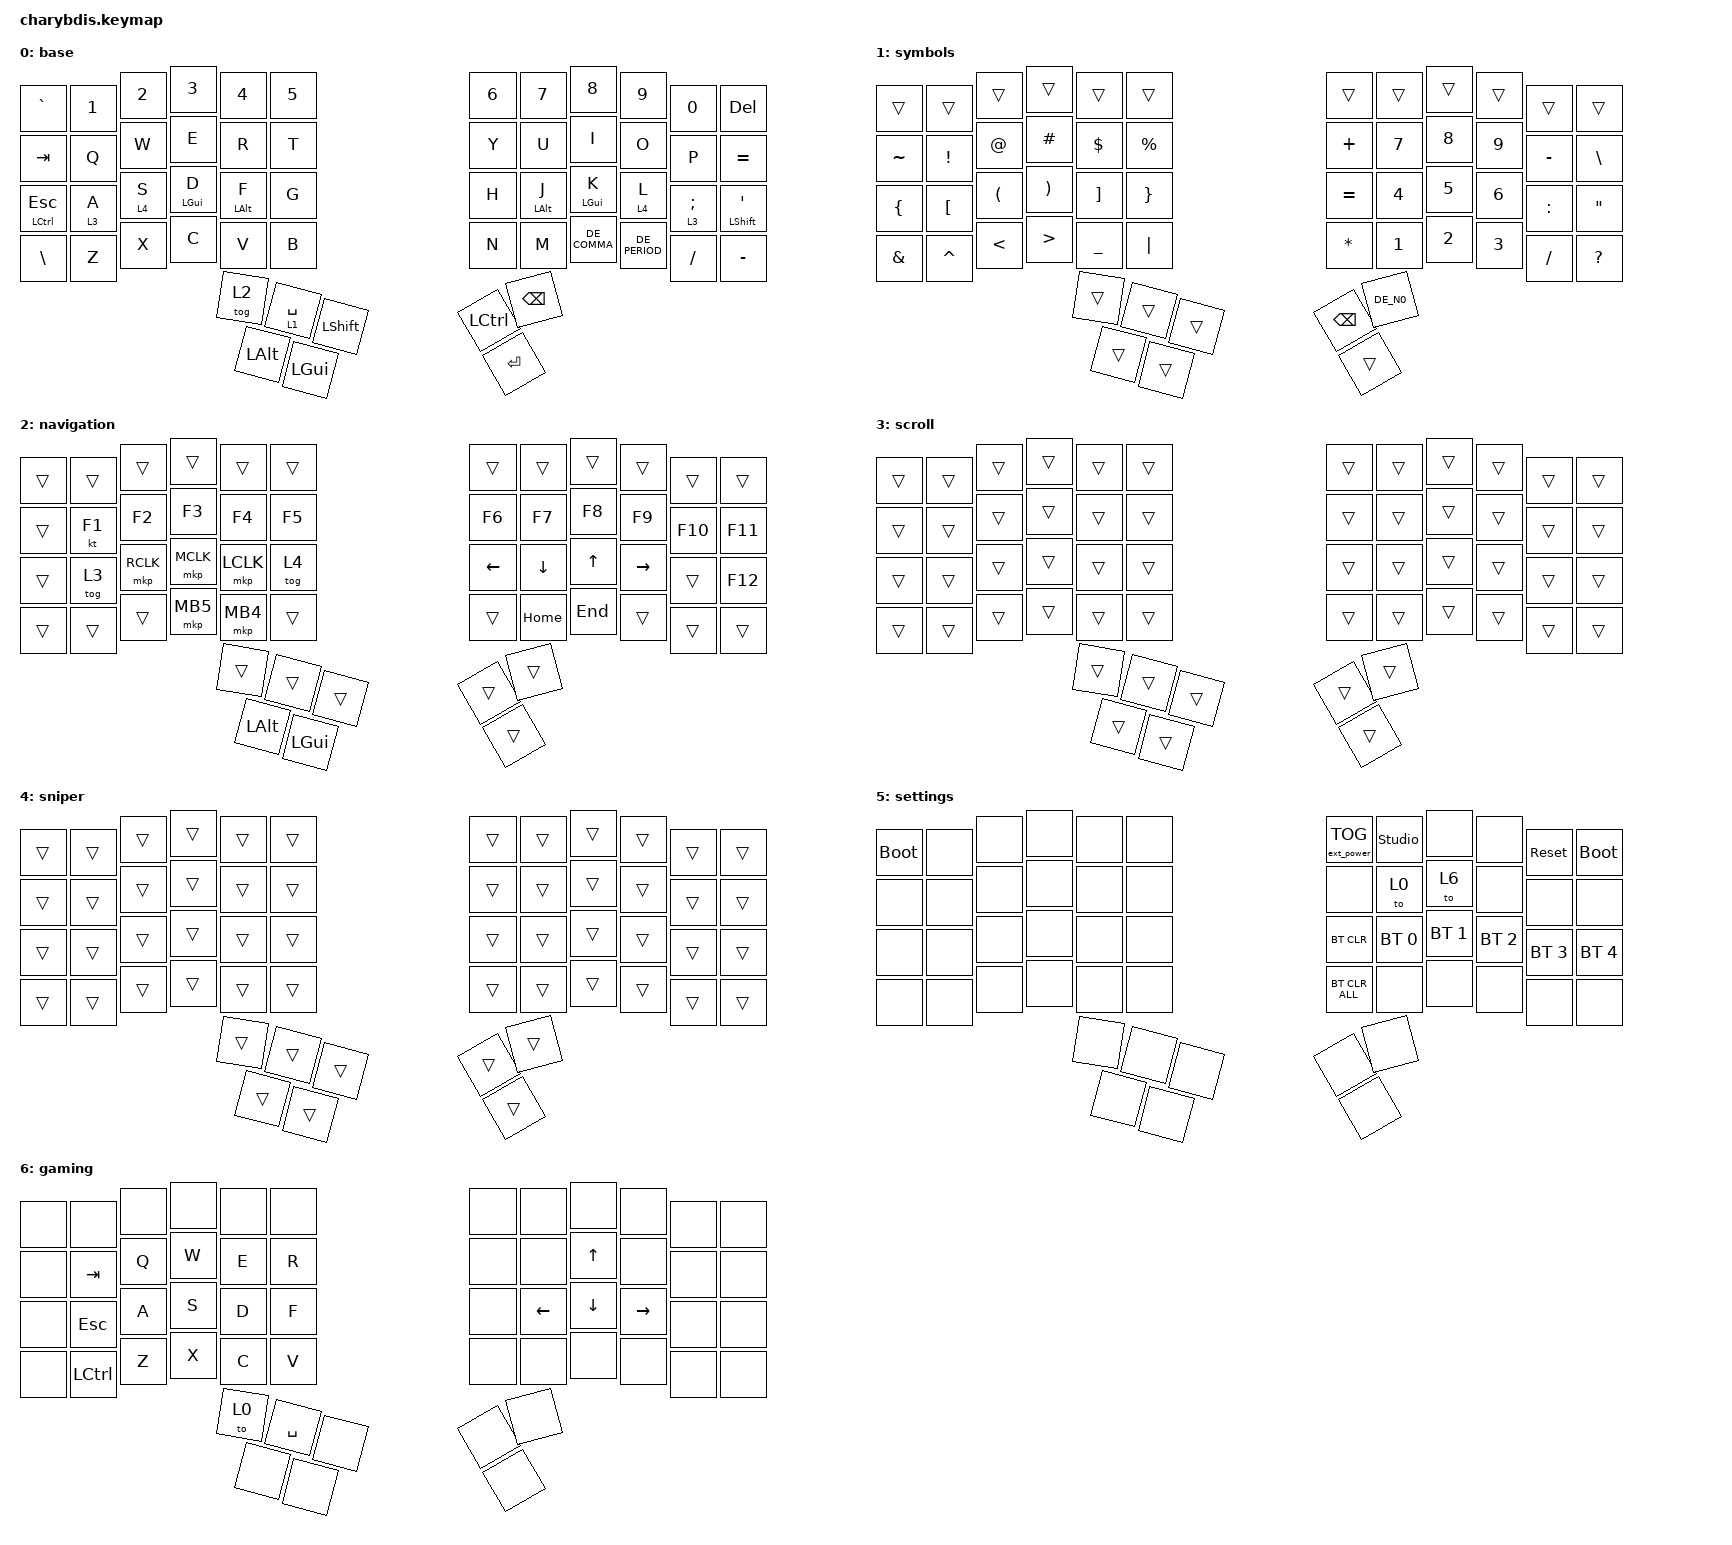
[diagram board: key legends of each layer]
#include "keys_de_swiss.h"
#include <dt-bindings/zmk/input_transform.h>
#include <input/processors.dtsi>
#include <behaviors.dtsi>
#include <dt-bindings/zmk/bt.h>
#include <dt-bindings/zmk/ext_power.h>
#include <dt-bindings/zmk/keys.h>
#include <dt-bindings/zmk/pointing.h>

// / {
//     chosen { zmk,matrix_transform = &default_transform; };
// };

&lt {
    flavor = "balanced";
    quick-tap-ms = <175>;
    tapping-term-ms = <190>;
};

/ {
    /* input config for trackball */

    trackball_listener: trackball_listener {
        compatible = "zmk,input-listener";
        device = <&trackball_split>;

        // Default mouse movement mode (layers 0, 1, 2, 5, 6)

        input-processors = <&zip_xy_scaler 1 2>;

        // Snipe mode (layer 4)

        snipe {
            layers = <4>;
            input-processors = <&zip_xy_scaler 1 4>;
        };

        // Scroll mode (layer 3)

        scroll {
            layers = <3>;
            input-processors =
                <&zip_xy_to_scroll_mapper>,
                <&zip_scroll_scaler 1 14>,
                <&zip_scroll_transform (INPUT_TRANSFORM_Y_INVERT)>;
        };
    };

    // #define QUERTZ    0
    // #define NUMBERS   1
    // #define NAV-FUN   2
    // #define MAC       3
    // #define MAC-NUM   4
    // #define MAC-NAV   5
    // #define GAME      6
    // #define GAME-NUM  7
    // #define GAME-NAV  8
    // #define SCROLL    9
    // #define SNIPER   10
    // #define FN       11

    combos {
        compatible = "zmk,combos";

        rh_leftClick {
            bindings = <&mkp LCLK>;
            key-positions = <43 44>;
        };

        rh_rightClick {
            bindings = <&mkp RCLK>;
            key-positions = <44 45>;
        };

        rh_middleClick {
            bindings = <&mkp MCLK>;
            key-positions = <44 45 43>;
        };

        lh_leftClick {
            bindings = <&mkp LCLK>;
            key-positions = <40 39>;
        };

        lh_rightClick {
            bindings = <&mkp RCLK>;
            key-positions = <38 39>;
        };

        lh_middleClick {
            bindings = <&mkp MCLK>;
            key-positions = <38 39 40>;
        };

        CAPZ {
            bindings = <&kp CAPSLOCK>;
            key-positions = <24 25>;
        };

        settings {
            bindings = <&to 5>;
            key-positions = <18 20 23>;
        };

        lh_prevClick {
            bindings = <&mkp MB4>;
            key-positions = <40 38>;
        };

        lh_nextClick {
            bindings = <&mkp MB5>;
            key-positions = <40 37>;
        };

        rh_prevClick {
            bindings = <&mkp MB4>;
            key-positions = <43 45>;
        };

        rh_nextClick {
            bindings = <&mkp MB5>;
            key-positions = <43 46>;
        };
    };

    behaviors {
        hmr: hmr {
            compatible = "zmk,behavior-hold-tap";
            label = "HMR";
            bindings = <&kp>, <&kp>;

            #binding-cells = <2>;
            tapping-term-ms = <190>;
            quick-tap-ms = <175>;
            flavor = "balanced";
            hold-trigger-key-positions = <0 1 2 3 4 5 12 13 14 15 16 17 24 25 26 27 28 29 36 37 38 39 40 41 48 49 50 53 54 51 52 55>;
            hold-trigger-on-release;
        };

        hml: hml {
            compatible = "zmk,behavior-hold-tap";
            label = "HML";
            bindings = <&kp>, <&kp>;

            #binding-cells = <2>;
            tapping-term-ms = <190>;
            quick-tap-ms = <175>;
            flavor = "balanced";
            hold-trigger-key-positions = <48 49 50 53 54 51 52 55 6 7 8 9 10 11 18 19 20 21 22 23 30 31 32 33 34 35 42 43 44 45 46 47 51 52>;
            hold-trigger-on-release;
        };
    };

    keymap {
        compatible = "zmk,keymap";

        base {
            bindings = <
&kp GRAVE                 &kp N1   &kp N2   &kp N3           &kp N4           &kp N5            &kp N6            &kp N7           &kp N8        &kp N9         &kp N0      &kp DEL
&kp TAB                   &kp Q    &kp W    &kp E            &kp R            &kp T             &kp Y             &kp U            &kp I         &kp O          &kp P       &kp EQUAL
&hml LEFT_CONTROL ESCAPE  &lt 3 A  &lt 4 S  &hml LEFT_GUI D  &hml LEFT_ALT F  &kp G             &kp H             &hmr LEFT_ALT J  &hmr LGUI K   &lt 4 L        &lt 3 SEMI  &hmr LEFT_SHIFT SQT
&kp BACKSLASH             &kp Z    &kp X    &kp C            &kp V            &kp B             &kp N             &kp M            &kp DE_COMMA  &kp DE_PERIOD  &kp SLASH   &kp MINUS
                                            &tog 2           &lt 1 SPACE      &kp LEFT_SHIFT    &kp LEFT_CONTROL  &kp BACKSPACE
                                                             &kp LEFT_ALT     &kp LEFT_GUI      &kp ENTER
            >;
        };

        symbols {
            bindings = <
&trans          &trans            &trans                &trans                 &trans             &trans             &trans         &trans     &trans  &trans  &trans     &trans
&kp TILDE       &kp EXCLAMATION   &kp AT_SIGN           &kp POUND              &kp DOLLAR         &kp PERCENT        &kp PLUS       &kp N7     &kp N8  &kp N9  &kp MINUS  &kp BACKSLASH
&kp LEFT_BRACE  &kp LEFT_BRACKET  &kp LEFT_PARENTHESIS  &kp RIGHT_PARENTHESIS  &kp RIGHT_BRACKET  &kp RIGHT_BRACE    &kp EQUAL      &kp N4     &kp N5  &kp N6  &kp COLON  &kp DQT
&kp AMPERSAND   &kp CARET         &kp LESS_THAN         &kp GREATER_THAN       &kp UNDERSCORE     &kp PIPE           &kp ASTERISK   &kp N1     &kp N2  &kp N3  &kp FSLH   &kp QUESTION
                                                        &trans                 &trans             &trans             &kp BACKSPACE  &kp DE_N0
                                                                               &trans             &trans             &trans
            >;
        };

        navigation {
            bindings = <
&trans  &trans  &trans     &trans     &trans     &trans          &trans    &trans    &trans   &trans     &trans   &trans
&trans  &kt F1  &kp F2     &kp F3     &kp F4     &kp F5          &kp F6    &kp F7    &kp F8   &kp F9     &kp F10  &kp F11
&trans  &tog 3  &mkp RCLK  &mkp MCLK  &mkp LCLK  &tog 4          &kp LEFT  &kp DOWN  &kp UP   &kp RIGHT  &trans   &kp F12
&trans  &trans  &trans     &mkp MB5   &mkp MB4   &trans          &trans    &kp HOME  &kp END  &trans     &trans   &trans
                           &trans     &trans     &trans          &trans    &trans
                                      &kp LALT   &kp LEFT_GUI    &trans
            >;
        };

        scroll {
            bindings = <
&trans  &trans  &trans  &trans  &trans  &trans    &trans  &trans  &trans  &trans  &trans  &trans
&trans  &trans  &trans  &trans  &trans  &trans    &trans  &trans  &trans  &trans  &trans  &trans
&trans  &trans  &trans  &trans  &trans  &trans    &trans  &trans  &trans  &trans  &trans  &trans
&trans  &trans  &trans  &trans  &trans  &trans    &trans  &trans  &trans  &trans  &trans  &trans
                        &trans  &trans  &trans    &trans  &trans
                                &trans  &trans    &trans
            >;
        };

        sniper {
            bindings = <
&trans  &trans  &trans  &trans  &trans  &trans    &trans  &trans  &trans  &trans  &trans  &trans
&trans  &trans  &trans  &trans  &trans  &trans    &trans  &trans  &trans  &trans  &trans  &trans
&trans  &trans  &trans  &trans  &trans  &trans    &trans  &trans  &trans  &trans  &trans  &trans
&trans  &trans  &trans  &trans  &trans  &trans    &trans  &trans  &trans  &trans  &trans  &trans
                        &trans  &trans  &trans    &trans  &trans
                                &trans  &trans    &trans
            >;
        };

        settings {
            bindings = <
&bootloader  &none  &none  &none  &none  &none    &ext_power EP_TOG  &studio_unlock  &none         &none         &sys_reset    &bootloader
&none        &none  &none  &none  &none  &none    &none              &to 0           &to 6         &none         &none         &none
&none        &none  &none  &none  &none  &none    &bt BT_CLR         &bt BT_SEL 0    &bt BT_SEL 1  &bt BT_SEL 2  &bt BT_SEL 3  &bt BT_SEL 4
&none        &none  &none  &none  &none  &none    &bt BT_CLR_ALL     &none           &none         &none         &none         &none
                           &none  &none  &none    &none              &none
                                  &none  &none    &none
            >;
        };

        gaming {
            bindings = <
&none  &none      &none  &none  &none      &none    &none  &none     &none     &none      &none  &none
&none  &kp TAB    &kp Q  &kp W  &kp E      &kp R    &none  &none     &kp UP    &none      &none  &none
&none  &kp ESC    &kp A  &kp S  &kp D      &kp F    &none  &kp LEFT  &kp DOWN  &kp RIGHT  &none  &none
&none  &kp LCTRL  &kp Z  &kp X  &kp C      &kp V    &none  &none     &none     &none      &none  &none
                         &to 0  &kp SPACE  &none    &none  &none
                                &none      &none    &none
            >;
        };
    };
};
